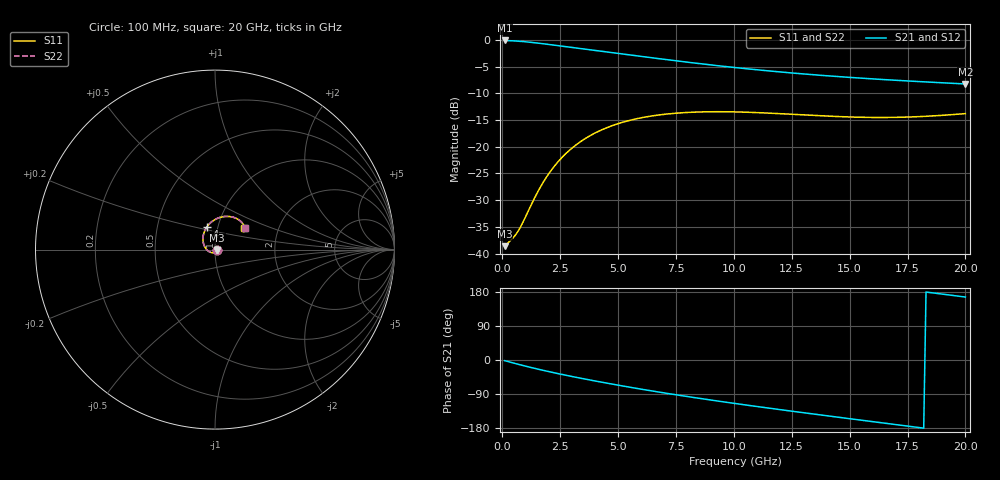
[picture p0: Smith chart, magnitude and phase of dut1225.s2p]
! Touchstone file exported from HFSS 2024.1.0
!  File:  C:/UserFiles/LocalFiles/RDL_TSV_Batchsim/temp_RDL_TSV_1225_1780263170.aedt
!  Generated:  05:46:07 AM Jun  1, 2026
!  Design:  RDL_TSV
!  Project:  temp_RDL_TSV_1225_1780263170
!  Setup:  Setup1
!  Solution:  Sweep
! Variables:
!  dtsv = 11.41um
!  hbump = 3um
!  htsv = 68.76um
!  ldown = 578.23um
!  lrdl = 285.75um
!  p = 40
!  p1 = 42.42um
!  rhole = 10um
!  subl = 2877.69um
!  t = 450um
!  tdown = 3.74um
!  trdl = 4.42um
!  viad = 10um
!  wdown = 22.07um
!  wrdl = 27.36um
!  xbump = 18um
# GHz S MA R 50.000000
! Terminal data exported
! Port[1] = TM1_1_T1
! Port[2] = TM1_4_T1
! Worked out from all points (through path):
!   200 points, 100 MHz to 20 GHz, reference 50 ohm
!   highest |S21| = -0.11 dB at 100 MHz (marker M1); lowest = -8.2 dB at 20 GHz (marker M2)
!   group delay of S21, straight-line fit = 25.5 ps
!   lowest |S11| = -38.6 dB at 100 MHz (marker M3), VSWR 1.02, Z = 51.2 - j0.199 ohm
!   |S11| at or under -10 dB: start of sweep to end of sweep
!   |S22| runs from -38.6 to -13.4 dB; largest |S21 - S12| = 1.4e-14
!   S11 on the Smith chart (normalised r, x): 100 MHz: 1.02, -0.00; 4 GHz: 0.89, +0.23; 20 GHz: 1.34, +0.34
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0.1  0.01173 -9.6  0.9878 -1.7  0.9878 -1.7  0.01173 -9.6
! Gamma 0 0 0 0
! Port Impedance 50 0 50 0
0.5  0.0143 -61.8  0.9789 -8.3  0.9789 -8.3  0.01431 -61.8
0.7  0.01644 -88.9  0.9725 -11.5  0.9725 -11.5  0.01645 -88.9
0.9  0.01979 -113.2  0.9647 -14.6  0.9647 -14.6  0.01981 -113.2
1.2  0.02715 -142.6  0.9509 -19.2  0.9509 -19.2  0.02718 -142.6
1.6  0.04029 -170.9  0.9297 -25.0  0.9297 -25.0  0.04031 -170.9
2.1  0.05971 164.1  0.9013 -31.9  0.9013 -31.9  0.05975 164.2
2.7  0.08446 142.3  0.867 -39.7  0.867 -39.7  0.08452 142.4
3.1  0.1007 130.6  0.8447 -44.6  0.8447 -44.6  0.1008 130.7
3.5  0.1162 120.6  0.823 -49.4  0.823 -49.4  0.1163 120.7
4  0.1342 109.7  0.7968 -55.3  0.7968 -55.3  0.1343 109.7
4.6  0.1533 98.4  0.7664 -62.0  0.7664 -62.0  0.1534 98.5
5.3  0.1719 87.2  0.7326 -69.6  0.7326 -69.6  0.1721 87.3
6.8  0.1988 68.3  0.6657 -85.0  0.6657 -85.0  0.1991 68.4
8.4  0.2112 53.7  0.6039 -100.2  0.6039 -100.2  0.2116 53.8
10.1  0.2117 42.8  0.5494 -115.2  0.5494 -115.2  0.2122 42.8
11.7  0.2055 36.1  0.5079 -128.6  0.5079 -128.6  0.206 36.2
13.4  0.1965 32.5  0.4725 -142.3  0.4725 -142.3  0.1972 32.5
15  0.1899 31.8  0.4457 -154.9  0.4457 -154.9  0.1906 31.8
16.7  0.188 33.1  0.4223 -168.2  0.4223 -168.2  0.1887 33.1
18.3  0.1927 35.0  0.4038 179.4  0.4038 179.4  0.1935 35.0
20  0.2042 36.5  0.3869 166.1  0.3869 166.1  0.205 36.4
